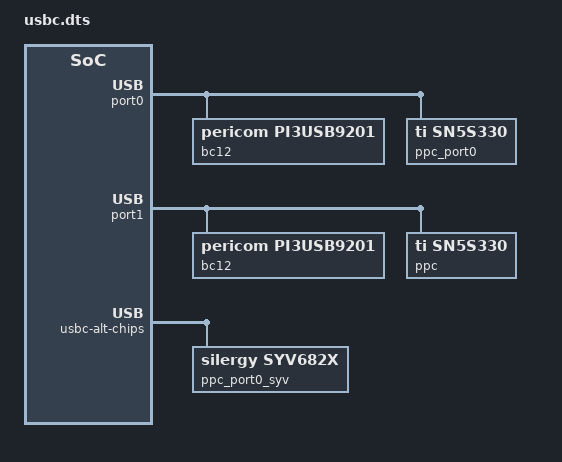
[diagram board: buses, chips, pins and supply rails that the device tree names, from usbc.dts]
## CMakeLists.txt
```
# Copyright 2021 The Chromium OS Authors. All rights reserved.
# Use of this source code is governed by a BSD-style license that can be
# found in the LICENSE file.

cmake_minimum_required(VERSION 3.13.1)

find_package(Zephyr REQUIRED HINTS $ENV{ZEPHYR_BASE})
project(herobrine_npcx9)

zephyr_library_include_directories(include)

# Board specific implementation
zephyr_library_sources_ifdef(CONFIG_PLATFORM_EC_USBC
  "src/usbc_config.c"
  "src/usb_pd_policy.c")
zephyr_library_sources_ifdef(CONFIG_PLATFORM_EC_LED_COMMON
  "src/led.c")
zephyr_library_sources_ifdef(CONFIG_PLATFORM_EC_I2C
  "src/i2c.c")
```

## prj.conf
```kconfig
# Copyright 2021 The Chromium OS Authors. All rights reserved.
# Use of this source code is governed by a BSD-style license that can be
# found in the LICENSE file.

CONFIG_CROS_EC=y
CONFIG_SHIMMED_TASKS=y
CONFIG_PLATFORM_EC=y
CONFIG_PLATFORM_EC_BRINGUP=y
CONFIG_PLATFORM_EC_EXTPOWER_GPIO=y
CONFIG_PLATFORM_EC_SWITCH=y
CONFIG_PLATFORM_EC_LID_SWITCH=y
CONFIG_PLATFORM_EC_BACKLIGHT_LID=y
CONFIG_PLATFORM_EC_POWER_BUTTON=y
CONFIG_PLATFORM_EC_CBI_GPIO=y
CONFIG_I2C=y
CONFIG_KERNEL_SHELL=y
CONFIG_PLATFORM_EC_BOARD_RESET_AFTER_POWER_ON=y

# Shell history and tab autocompletion (for convenience)
CONFIG_SHELL_HELP=y
CONFIG_SHELL_HISTORY=y
CONFIG_SHELL_TAB=y
CONFIG_SHELL_TAB_AUTOCOMPLETION=y

# Miscellaneous configs
CONFIG_PLATFORM_EC_HIBERNATE_PSL=y

# LED
CONFIG_PLATFORM_EC_LED_COMMON=y

# PWM
CONFIG_PWM=y
CONFIG_PWM_SHELL=n
CONFIG_PLATFORM_EC_PWM=y
CONFIG_PLATFORM_EC_PWM_DISPLIGHT=y
CONFIG_PLATFORM_EC_PWM_KBLIGHT=y

# Application Processor is Qualcomm SC7280
CONFIG_AP_ARM_QUALCOMM_SC7280=y

# GPIO Switchcap
CONFIG_PLATFORM_EC_SWITCHCAP_GPIO=y

# Board version is selected over GPIO board ID pins.
CONFIG_PLATFORM_EC_BOARD_VERSION_GPIO=y

# Power Sequencing
CONFIG_PLATFORM_EC_POWERSEQ=y
CONFIG_PLATFORM_EC_POWERSEQ_HOST_SLEEP=y
CONFIG_PLATFORM_EC_POWERSEQ_PP5000_CONTROL=n
CONFIG_PLATFORM_EC_POWER_SLEEP_FAILURE_DETECTION=y
CONFIG_PLATFORM_EC_CHIPSET_RESET_HOOK=y
CONFIG_PLATFORM_EC_CHIPSET_RESUME_INIT_HOOK=y

# MKBP event mask
CONFIG_PLATFORM_EC_MKBP_EVENT_WAKEUP_MASK=y
CONFIG_PLATFORM_EC_MKBP_HOST_EVENT_WAKEUP_MASK=y

# MKBP event
CONFIG_PLATFORM_EC_MKBP_EVENT=y
CONFIG_PLATFORM_EC_MKBP_USE_GPIO=y

# Keyboard
CONFIG_PLATFORM_EC_KEYBOARD=y
CONFIG_PLATFORM_EC_KEYBOARD_PROTOCOL_MKBP=y
CONFIG_PLATFORM_EC_MKBP_INPUT_DEVICES=y
CONFIG_PLATFORM_EC_KEYBOARD_COL2_INVERTED=y
CONFIG_PLATFORM_EC_KEYBOARD_REFRESH_ROW3=y
CONFIG_PLATFORM_EC_VOLUME_BUTTONS=y
CONFIG_PLATFORM_EC_CMD_BUTTON=y
CONFIG_CROS_KB_RAW_NPCX=y

# ADC
CONFIG_PLATFORM_EC_ADC=y
CONFIG_ADC=y
CONFIG_ADC_SHELL=n

# Battery
CONFIG_PLATFORM_EC_BATTERY=y
CONFIG_PLATFORM_EC_BATTERY_SMART=y
CONFIG_PLATFORM_EC_I2C_VIRTUAL_BATTERY=y
CONFIG_PLATFORM_EC_I2C_PASSTHRU_RESTRICTED=y
CONFIG_PLATFORM_EC_BATTERY_FUEL_GAUGE=y
CONFIG_PLATFORM_EC_BATTERY_CUT_OFF=y
CONFIG_PLATFORM_EC_BATTERY_PRESENT_GPIO=y
CONFIG_PLATFORM_EC_CHARGER_ISL9238=y
CONFIG_PLATFORM_EC_CHARGE_RAMP_HW=y
CONFIG_PLATFORM_EC_USE_BATTERY_DEVICE_CHEMISTRY=y
CONFIG_PLATFORM_EC_BATTERY_DEVICE_CHEMISTRY="LION"
CONFIG_PLATFORM_EC_BATTERY_REVIVE_DISCONNECT=y
CONFIG_PLATFORM_EC_CHARGER_DISCHARGE_ON_AC=y
CONFIG_PLATFORM_EC_CHARGER_DISCHARGE_ON_AC_CHARGER=y
CONFIG_PLATFORM_EC_CHARGER_MIN_BAT_PCT_FOR_POWER_ON=2
CONFIG_PLATFORM_EC_CHARGER_MIN_POWER_MW_FOR_POWER_ON=10000
CONFIG_PLATFORM_EC_CHARGER_PROFILE_OVERRIDE=y
CONFIG_PLATFORM_EC_CHARGER_PSYS=y
CONFIG_PLATFORM_EC_CHARGER_PSYS_READ=y
CONFIG_PLATFORM_EC_CHARGER_SENSE_RESISTOR=10
CONFIG_PLATFORM_EC_CHARGER_SENSE_RESISTOR_AC=20
CONFIG_PLATFORM_EC_CONSOLE_CMD_CHARGER_ADC_AMON_BMON=y

# USB-A
CONFIG_PLATFORM_EC_USB_A_PORT_COUNT=1

# USB-C
CONFIG_PLATFORM_EC_BC12_DETECT_PI3USB9201=y
CONFIG_PLATFORM_EC_USB_PD_USB32_DRD=n
CONFIG_PLATFORM_EC_USBC_PPC_SN5S330=y
CONFIG_PLATFORM_EC_USBC_PPC_SYV682C=y
CONFIG_PLATFORM_EC_USBC_PPC_SYV682X=y
CONFIG_PLATFORM_EC_USBC_RETIMER_FW_UPDATE=n
CONFIG_PLATFORM_EC_USBC_SS_MUX_DFP_ONLY=y
CONFIG_PLATFORM_EC_USB_DRP_ACC_TRYSRC=y
CONFIG_PLATFORM_EC_USB_PD_5V_EN_CUSTOM=y
CONFIG_PLATFORM_EC_USB_PD_VBUS_DETECT_TCPC=y
CONFIG_PLATFORM_EC_USB_PD_DISCHARGE_PPC=y
CONFIG_PLATFORM_EC_USB_PD_PORT_MAX_COUNT=2
CONFIG_PLATFORM_EC_USB_PD_REV30=n
CONFIG_PLATFORM_EC_USB_PD_TCPC_LOW_POWER=y
CONFIG_PLATFORM_EC_USB_PD_TCPM_PS8805=y
CONFIG_PLATFORM_EC_USB_PD_TCPC_RUNTIME_CONFIG=n
CONFIG_PLATFORM_EC_USB_MUX_RUNTIME_CONFIG=n
CONFIG_PLATFORM_EC_USB_PD_LOGGING=y
CONFIG_PLATFORM_EC_USB_PORT_POWER_DUMB=y

# USB ID
# This is allocated specifically for Herobrine
# http://google3/hardware/standards/usb/
# TODO(b/183608112): Move to device tree
CONFIG_PLATFORM_EC_USB_PID=0x5055

# RTC
CONFIG_PLATFORM_EC_RTC=y
CONFIG_CROS_RTC_NXP_PCF85063A=y
CONFIG_PLATFORM_EC_HOSTCMD_RTC=y
CONFIG_PLATFORM_EC_CONSOLE_CMD_RTC=y
CONFIG_PLATFORM_EC_CONSOLE_CMD_RTC_ALARM=y

# EC software sync
CONFIG_PLATFORM_EC_VBOOT_HASH=y

# Sensors
CONFIG_PLATFORM_EC_MOTIONSENSE=y
CONFIG_PLATFORM_EC_ACCEL_FIFO=y
CONFIG_PLATFORM_EC_ACCEL_INTERRUPTS=y
CONFIG_PLATFORM_EC_CONSOLE_CMD_ACCELS=y
CONFIG_PLATFORM_EC_CONSOLE_CMD_ACCEL_INFO=y
CONFIG_PLATFORM_EC_GMR_TABLET_MODE=y
CONFIG_PLATFORM_EC_LID_ANGLE=y
CONFIG_PLATFORM_EC_LID_ANGLE_UPDATE=y
CONFIG_PLATFORM_EC_SENSOR_TIGHT_TIMESTAMPS=y
CONFIG_PLATFORM_EC_TABLET_MODE=y
CONFIG_PLATFORM_EC_TABLET_MODE_SWITCH=y

# Sensor Drivers
CONFIG_PLATFORM_EC_ACCEL_BMA255=y
CONFIG_PLATFORM_EC_ACCELGYRO_BMI260=y
CONFIG_PLATFORM_EC_ACCELGYRO_BMI_COMM_I2C=y

CONFIG_SYSCON=y

# Features should be enabled. But the code RAM is not enough, disable them.
#CONFIG_PLATFORM_EC_ACCEL_SPOOF_MODE=y
#CONFIG_PLATFORM_EC_EMULATED_SYSRQ=y
```

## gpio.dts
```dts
/* Copyright 2021 The Chromium OS Authors. All rights reserved.
 * Use of this source code is governed by a BSD-style license that can be
 * found in the LICENSE file.
 */

/ {
	named-gpios {
		compatible = "named-gpios";

		usb_c0_pd_int_odl {
			gpios = <&gpioe 0 GPIO_INPUT>;
			enum-name = "GPIO_USB_C0_PD_INT_ODL";
		};
		usb_c1_pd_int_odl {
			gpios = <&gpiof 5 GPIO_INPUT>;
			enum-name = "GPIO_USB_C1_PD_INT_ODL";
		};
		usb_c0_swctl_int_odl {
			gpios = <&gpio0 3 GPIO_INPUT>;
			enum-name = "GPIO_USB_C0_SWCTL_INT_ODL";
		};
		usb_c1_swctl_int_odl {
			gpios = <&gpio4 0 GPIO_INPUT>;
			enum-name = "GPIO_USB_C1_SWCTL_INT_ODL";
		};
		gpio_usb_c0_bc12_int_l: usb_c0_bc12_int_l {
			gpios = <&gpio6 1 GPIO_INPUT_PULL_UP>;
			enum-name = "GPIO_USB_C0_BC12_INT_L";
		};
		gpio_usb_c1_bc12_int_l: usb_c1_bc12_int_l {
			gpios = <&gpio8 2 GPIO_INPUT_PULL_UP>;
			enum-name = "GPIO_USB_C1_BC12_INT_L";
		};
		usb_a0_oc_odl {
			gpios = <&gpiof 4 GPIO_INPUT_PULL_UP>;
			enum-name = "GPIO_USB_A0_OC_ODL";
		};
		gpio_chg_acok_od: chg_acok_od {
			gpios = <&gpiod 2 GPIO_INPUT>;
			enum-name = "GPIO_AC_PRESENT";
		};
		gpio_ec_pwr_btn_odl: ec_pwr_btn_odl {
			gpios = <&gpio0 0 GPIO_INPUT>;
			enum-name = "GPIO_POWER_BUTTON_L";
		};
		ec_voldn_btn_odl {
			gpios = <&gpio6 2 GPIO_INPUT_PULL_UP>;
			enum-name = "GPIO_VOLUME_DOWN_L";
		};
		ec_volup_btn_odl {
			gpios = <&gpioc 2 GPIO_INPUT_PULL_UP>;
			enum-name = "GPIO_VOLUME_UP_L";
		};
		ec_wp_odl {
			gpios = <&gpiod 3 GPIO_INPUT>;
			enum-name = "GPIO_WP_L";
		};
		gpio_lid_open_ec: lid_open_ec {
			gpios = <&gpio0 1 GPIO_INPUT>;
			enum-name = "GPIO_LID_OPEN";
		};
		ap_rst_l {
			gpios = <&gpio5 1 GPIO_INPUT>;
			enum-name = "GPIO_AP_RST_L";
		};
		ps_hold {
			gpios = <&gpioa 6 GPIO_INPUT_PULL_DOWN>;
			enum-name = "GPIO_PS_HOLD";
		};
		ap_suspend {
			gpios = <&gpio5 7 GPIO_INPUT>;
			enum-name = "GPIO_AP_SUSPEND";
		};
		mb_power_good {
			gpios = <&gpio3 7 GPIO_INPUT_PULL_DOWN>;
			enum-name = "GPIO_POWER_GOOD";
		};
		warm_reset_l {
			gpios = <&gpiob 0 GPIO_INPUT>;
			enum-name = "GPIO_WARM_RESET_L";
		};
		ap_ec_spi_cs_l {
			gpios = <&gpio5 3 GPIO_INPUT_PULL_DOWN>;
		};
		tablet_mode_l {
			gpios = <&gpioc 6 GPIO_INPUT>;
			enum-name = "GPIO_TABLET_MODE_L";
		};
		gpio_accel_gyro_int_l: accel_gyro_int_l {
			gpios = <&gpioa 3 GPIO_INPUT>;
			enum-name = "GPIO_ACCEL_GYRO_INT_L";
		};
		gpio_rtc_ec_wake_odl: rtc_ec_wake_odl {
			#gpio-cells = <0>;
			gpios = <&gpio0 2 GPIO_INPUT>;
			enum-name = "GPIO_EC_RST_ODL";
		};
		ec_entering_rw {
			gpios = <&gpio7 2 GPIO_OUT_LOW>;
			enum-name = "GPIO_ENTERING_RW";
		};
		ccd_mode_odl {
			gpios = <&gpio6 3 GPIO_INPUT>;
			enum-name = "GPIO_CCD_MODE_ODL";
		};
		ec_batt_pres_odl {
			gpios = <&gpioe 5 GPIO_INPUT>;
			enum-name = "GPIO_BATT_PRES_ODL";
		};
		ec_gsc_packet_mode {
			gpios = <&gpio8 3 GPIO_OUT_LOW>;
			enum-name = "GPIO_PACKET_MODE_EN";
		};
		pmic_resin_l {
			gpios = <&gpioa 0 GPIO_ODR_HIGH>;
			enum-name = "GPIO_PMIC_RESIN_L";
		};
		pmic_kpd_pwr_odl {
			gpios = <&gpioa 2 GPIO_ODR_HIGH>;
			enum-name = "GPIO_PMIC_KPD_PWR_ODL";
		};
		ap_ec_int_l {
			gpios = <&gpio5 6 GPIO_ODR_HIGH>;
			enum-name = "GPIO_EC_INT_L";
		};
		gpio_switchcap_on: switchcap_on {
			gpios = <&gpiod 5 GPIO_OUT_LOW>;
			enum-name = "GPIO_SWITCHCAP_ON";
		};
		en_pp5000_s5 {
			gpios = <&gpio7 3 GPIO_OUT_HIGH>;
			enum-name = "GPIO_EN_PP5000";
		};
		ec_bl_disable_l {
			/* The PMIC controls backlight enable and this pin must
			 * be HiZ for normal operation. But the backlight can
			 * be enabled by setting this pin low and configuring it
			 * as an output.
			 */
			gpios = <&gpiob 6 GPIO_INPUT>;
			enum-name = "GPIO_ENABLE_BACKLIGHT";
		};
		lid_accel_int_l {
			gpios = <&gpioa 1 GPIO_INPUT>;
			enum-name = "GPIO_LID_ACCEL_INT_L";
		};
		tp_int_gate {
			gpios = <&gpio7 4 GPIO_OUT_LOW>;
			enum-name = "GPIO_TRACKPAD_INT_GATE";
		};
		usb_c0_pd_rst_l {
			gpios = <&gpiof 1 GPIO_OUT_HIGH>;
			enum-name = "GPIO_USB_C0_PD_RST_L";
		};
		usb_c1_pd_rst_l {
			gpios = <&gpioe 4 GPIO_OUT_HIGH>;
			enum-name = "GPIO_USB_C1_PD_RST_L";
		};
		dp_mux_oe_l {
			gpios = <&gpiob 1 GPIO_ODR_HIGH>;
			enum-name = "GPIO_DP_MUX_OE_L";
		};
		dp_mux_sel {
			gpios = <&gpio4 5 GPIO_OUT_LOW>;
			enum-name = "GPIO_DP_MUX_SEL";
		};
		dp_hot_plug_det_r {
			gpios = <&gpio9 5 GPIO_OUT_LOW>;
			enum-name = "GPIO_DP_HOT_PLUG_DET";
		};
		en_usb_a_5v {
			gpios = <&gpiof 0 GPIO_OUT_LOW>;
			enum-name = "GPIO_EN_USB_A_5V";
		};
		usb_a_cdp_ilim_en_l {
			gpios = <&gpio7 5 GPIO_OUT_HIGH>;
		};
		usb_c0_frs_en {
			gpios = <&gpioc 5 GPIO_OUT_LOW>;
			enum-name = "GPIO_USB_C0_FRS_EN";
		};
		usb_c1_frs_en {
			gpios = <&gpioc 1 GPIO_OUT_LOW>;
			enum-name = "GPIO_USB_C1_FRS_EN";
		};
		ec_chg_led_y_c0 {
			gpios = <&gpio6 0 GPIO_OUT_LOW>;
			enum-name = "GPIO_EC_CHG_LED_Y_C0";
		};
		ec_chg_led_w_c0 {
			gpios = <&gpioc 0 GPIO_OUT_LOW>;
			enum-name = "GPIO_EC_CHG_LED_W_C0";
		};
		ec_chg_led_y_c1 {
			gpios = <&gpioc 3 GPIO_OUT_LOW>;
			enum-name = "GPIO_EC_CHG_LED_Y_C1";
		};
		ec_chg_led_w_c1 {
			gpios = <&gpioc 4 GPIO_OUT_LOW>;
			enum-name = "GPIO_EC_CHG_LED_W_C1";
		};
		ap_ec_spi_mosi {
			gpios = <&gpio4 6 GPIO_INPUT_PULL_DOWN>;
		};
		ap_ec_spi_miso {
			gpios = <&gpio4 7 GPIO_INPUT_PULL_DOWN>;
		};
		ap_ec_spi_clk {
			gpios = <&gpio5 5 GPIO_INPUT_PULL_DOWN>;
		};
		gpio_brd_id0: brd_id0 {
			gpios = <&gpio9 4 GPIO_INPUT>;
			enum-name = "GPIO_BOARD_VERSION1";
		};
		gpio_brd_id1: brd_id1 {
			gpios = <&gpio9 7 GPIO_INPUT>;
			enum-name = "GPIO_BOARD_VERSION2";
		};
		gpio_brd_id2: brd_id2 {
			gpios = <&gpioa 5 GPIO_INPUT>;
			enum-name = "GPIO_BOARD_VERSION3";
		};
		gpio_sku_id0: sku_id0 {
			gpios = <&gpio6 7 GPIO_INPUT>;
			enum-name = "GPIO_SKU_ID0";
		};
		gpio_sku_id1: sku_id1 {
			gpios = <&gpio7 0 GPIO_INPUT>;
			enum-name = "GPIO_SKU_ID1";
		};
		gpio_sku_id2: sku_id2 {
			gpios = <&gpioe 1 GPIO_INPUT>;
			enum-name = "GPIO_SKU_ID2";
		};
		gpio_switchcap_pg: src_vph_pwr_pg {
			gpios = <&gpioe 2 GPIO_INPUT_PULL_DOWN>;
			enum-name = "GPIO_SWITCHCAP_PG";
		};
		arm_x86 {
			gpios = <&gpio6 6 GPIO_OUT_LOW>;
		};
		ec_kso_02_inv {
			gpios = <&gpio1 7 GPIO_OUT_LOW>;
			enum-name = "GPIO_KBD_KSO2";
		};
	};

	def-lvol-io-list {
		compatible = "nuvoton,npcx-lvolctrl-def";
		lvol-io-pads = <
			&lvol_iob3 /* EC_I2C_SENSOR_SCL */
			&lvol_iob2 /* EC_I2C_SENSOR_SDA */
		>;
	};

	hibernate-wake-pins {
		compatible = "cros-ec,hibernate-wake-pins";
		wakeup-pins = <
			&gpio_chg_acok_od
			&gpio_ec_pwr_btn_odl
			&gpio_lid_open_ec
			&gpio_rtc_ec_wake_odl
		>;
	};

	vsby-psl-in-list {
		/* Use PSL_IN1/2/3/4 as detection pins from hibernate mode */
		psl-in-pads = <&psl_in1 &psl_in2 &psl_in3 &psl_in4>;
	};

	sku {
		compatible = "cros-ec,gpio-id";

		bits  = <
			&gpio_sku_id0
			&gpio_sku_id1
			&gpio_sku_id2
		>;

		system = "ternary";
	};

	board {
		compatible = "cros-ec,gpio-id";

		bits  = <
			&gpio_brd_id0
			&gpio_brd_id1
			&gpio_brd_id2
		>;

		system = "ternary";
	};

	unused-pins {
		compatible = "unused-gpios";
		unused-gpios =
			<&gpio5 2 0>,
			<&gpio5 4 0>,
			<&gpio7 6 0>,
			<&gpiod 1 0>,
			<&gpiod 0 0>,
			<&gpioe 3 0>,
			<&gpio0 4 0>,
			<&gpiod 6 0>,
			<&gpio3 2 0>,
			<&gpio3 5 0>,
			<&gpiod 7 0>,
			<&gpio8 6 0>,
			<&gpiod 4 0>,
			<&gpio4 1 0>,
			<&gpio3 4 0>,
			<&gpioc 7 0>,
			<&gpioa 4 0>,
			<&gpio9 6 0>,
			<&gpio9 3 0>,
			<&gpioa 7 0>,
			<&gpio5 0 0>,
			<&gpio8 1 0>,
			<&gpiob 7 0>;
	};
};

/* Power switch logic input pads */
&psl_in1 {
	/* ACOK_OD */
	flag = <NPCX_PSL_RISING_EDGE>;
};

&psl_in2 {
	/* EC_PWR_BTN_ODL */
	flag = <NPCX_PSL_FALLING_EDGE>;
};

&psl_in3 {
	/* LID_OPEN_EC */
	flag = <NPCX_PSL_RISING_EDGE>;
};

&psl_in4 {
	/* RTC_EC_WAKE_ODL */
	flag = <NPCX_PSL_FALLING_EDGE>;
};
```

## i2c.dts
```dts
/* Copyright 2021 The Chromium OS Authors. All rights reserved.
 * Use of this source code is governed by a BSD-style license that can be
 * found in the LICENSE file.
 */

/ {
	aliases {
		i2c-0 = &i2c0_0;
		i2c-1 = &i2c1_0;
		i2c-2 = &i2c2_0;
		i2c-3 = &i2c3_0;
		i2c-4 = &i2c4_1;
		i2c-5 = &i2c5_0;
		i2c-7 = &i2c7_0;
	};

	named-i2c-ports {
		compatible = "named-i2c-ports";

		i2c_power: power {
			i2c-port = <&i2c0_0>;
			enum-name = "I2C_PORT_POWER";
		};
		battery {
			i2c-port = <&i2c0_0>;
			remote-port = <0>;
			enum-name = "I2C_PORT_BATTERY";
		};
		virtual-battery {
			i2c-port = <&i2c0_0>;
			enum-name = "I2C_PORT_VIRTUAL_BATTERY";
		};
		charger {
			i2c-port = <&i2c0_0>;
			enum-name = "I2C_PORT_CHARGER";
		};
		i2c_tcpc0: tcpc0 {
			i2c-port = <&i2c1_0>;
			enum-name = "I2C_PORT_TCPC0";
		};
		i2c_tcpc1: tcpc1 {
			i2c-port = <&i2c2_0>;
			enum-name = "I2C_PORT_TCPC1";
		};
		rtc {
			i2c-port = <&i2c4_1>;
			enum-name = "I2C_PORT_RTC";
		};
		i2c_eeprom: eeprom {
			i2c-port = <&i2c5_0>;
			enum-name = "I2C_PORT_EEPROM";
		};
		i2c_sensor: sensor {
			i2c-port = <&i2c7_0>;
			enum-name = "I2C_PORT_SENSOR";
		};
		accel {
			i2c-port = <&i2c7_0>;
			enum-name = "I2C_PORT_ACCEL";
		};
	};


};

&i2c0_0 {
	label = "I2C_POWER";
	status = "okay";
	clock-frequency = <I2C_BITRATE_STANDARD>;

	isl9238: isl9238@9 {
		compatible = "intersil,isl9238";
		reg = <0x09>;
		label = "ISL9238_CHARGER";
	};
};

&i2c_ctrl0 {
	status = "okay";
};

&i2c1_0 {
	label = "I2C_USB_C0_PD";
	status = "okay";
	/*
	 * TODO(b/200280341): PS8805 SPI ROM access
	 *
	 * The PS8805 supports 1 MHz during normal operation, but only
	 * 400 Khz during firmware updates. The I2C passthru commands don't
	 * currently support changing the I2C frequency or notifying the EC
	 * that a programming operation is going to start.  Lower the clock
	 * rate to 400 kHz for all accesses.
	 */
	clock-frequency = <I2C_BITRATE_FAST>;
};

&i2c_ctrl1 {
	status = "okay";
};

&i2c2_0 {
	label = "I2C_USB_C1_PD";
	status = "okay";
	/* TODO(b/200280341): PS8805 SPI ROM access */
	clock-frequency = <I2C_BITRATE_FAST>;
};

&i2c_ctrl2 {
	status = "okay";
};

&i2c3_0 {
	/* Not used as no WLC connected */
	clock-frequency = <I2C_BITRATE_FAST>;
};

&i2c4_1 {
	label = "I2C_RTC";
	status = "okay";
	clock-frequency = <I2C_BITRATE_FAST>;

	pcf85063a: pcf85063a@51 {
		compatible = "nxp,rtc-pcf85063a";
		reg = <0x51>;
		label = "RTC_PCF85063A";
		int-gpios = <&gpio_rtc_ec_wake_odl>;
	};
};

&i2c_ctrl4 {
	status = "okay";
};

&i2c5_0 {
	label = "I2C_EEPROM";
	status = "okay";
	clock-frequency = <I2C_BITRATE_FAST>;
};

&i2c_ctrl5 {
	status = "okay";
};

&i2c7_0 {
	label = "I2C_SENSOR";
	status = "okay";
	clock-frequency = <I2C_BITRATE_FAST>;
};

&i2c_ctrl7 {
	status = "okay";
};
```

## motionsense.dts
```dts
/* Copyright 2021 The Chromium OS Authors. All rights reserved.
 * Use of this source code is governed by a BSD-style license that can be
 * found in the LICENSE file.
 */

#include <dt-bindings/motionsense/utils.h>


/ {
	aliases {
		/*
		 * motion sense's <>_INT_EVENT is handled
		 * by alias. Using the alias, each driver creates
		 * its own <>_INT_EVENT.
		 */
		bmi260-int = &base_accel;
	};

	/*
	 * Declare mutexes used by sensor drivers.
	 * A mutex node is used to create an instance of mutex_t.
	 * A mutex node is referenced by a sensor node if the
	 * corresponding sensor driver needs to use the
	 * instance of the mutex.
	 */
	motionsense-mutex {
		compatible = "cros-ec,motionsense-mutex";
		lid_mutex: lid-mutex {
			label = "LID_MUTEX";
		};

		mutex_bmi260: bmi260-mutex {
			label = "BMI260_MUTEX";
		};
	};

	/* Rotation matrix used by drivers. */
	motionsense-rotation-ref {
		compatible = "cros-ec,motionsense-rotation-ref";
		lid_rot_ref: lid-rotation-ref {
			mat33 = <0 1 0
				 (-1) 0 0
				 0 0 1>;
		};

		base_rot_ref: base-rotation-ref {
			mat33 = <1 0 0
				 0 (-1) 0
				 0 0 (-1)>;
		};
	};

	/*
	 * Driver specific data. A driver-specific data can be shared with
	 * different motion sensors while they are using the same driver.
	 *
	 * If a node's compatible starts with "cros-ec,accelgyro-", it is for
	 * a common structure defined in accelgyro.h.
	 * e.g) compatible = "cros-ec,accelgyro-als-drv-data" is for
	 * "struct als_drv_data_t" in accelgyro.h
	 */
	motionsense-sensor-data {
		bma255_data: bma255-drv-data {
			compatible = "cros-ec,drvdata-bma255";
			status = "okay";
		};

		bmi260_data: bmi260-drv-data {
			compatible = "cros-ec,drvdata-bmi260";
			status = "okay";
		};
	};

	/*
	 * List of motion sensors that creates motion_sensors array.
	 * The label "lid_accel" and "base_accel" are used to indicate
	 * motion sensor IDs for lid angle calculation.
	 */
	motionsense-sensor {
		lid_accel: lid-accel {
			compatible = "cros-ec,bma255";
			status = "okay";

			label = "Lid Accel";
			active-mask = "SENSOR_ACTIVE_S0_S3";
			location = "MOTIONSENSE_LOC_LID";
			mutex = <&lid_mutex>;
			port = <&i2c_sensor>;
			rot-standard-ref = <&lid_rot_ref>;
			default-range = <2>;
			drv-data = <&bma255_data>;
			i2c-spi-addr-flags = "BMA2x2_I2C_ADDR1_FLAGS";
			configs {
				compatible =
					"cros-ec,motionsense-sensor-config";
				ec-s0 {
					label = "SENSOR_CONFIG_EC_S0";
					odr = <(10000 | ROUND_UP_FLAG)>;
				};
				ec-s3 {
					label = "SENSOR_CONFIG_EC_S3";
					odr = <(10000 | ROUND_UP_FLAG)>;
				};
			};
		};

		base_accel: base-accel {
			compatible = "cros-ec,bmi260-accel";
			status = "okay";

			label = "Base Accel";
			active-mask = "SENSOR_ACTIVE_S0_S3";
			location = "MOTIONSENSE_LOC_BASE";
			mutex = <&mutex_bmi260>;
			port = <&i2c_sensor>;
			rot-standard-ref = <&base_rot_ref>;
			drv-data = <&bmi260_data>;
			configs {
				compatible =
					"cros-ec,motionsense-sensor-config";
				ec-s0 {
					label = "SENSOR_CONFIG_EC_S0";
					odr = <(10000 | ROUND_UP_FLAG)>;
				};
				ec-s3 {
					label = "SENSOR_CONFIG_EC_S3";
					odr = <(10000 | ROUND_UP_FLAG)>;
				};
			};
		};

		base-gyro {
			compatible = "cros-ec,bmi260-gyro";
			status = "okay";

			label = "Base Gyro";
			active-mask = "SENSOR_ACTIVE_S0_S3";
			location = "MOTIONSENSE_LOC_BASE";
			mutex = <&mutex_bmi260>;
			port = <&i2c_sensor>;
			rot-standard-ref = <&base_rot_ref>;
			drv-data = <&bmi260_data>;
		};
	};

	motionsense-sensor-info {
		compatible = "cros-ec,motionsense-sensor-info";

		/*
		 * list of GPIO interrupts that have to
		 * be enabled at initial stage
		 */
		sensor-irqs = <&gpio_accel_gyro_int_l>;
		/* list of sensors in force mode */
		accel-force-mode-sensors = <&lid_accel>;
	};
};
```

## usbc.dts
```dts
/* Copyright 2021 The Chromium OS Authors. All rights reserved.
 * Use of this source code is governed by a BSD-style license that can be
 * found in the LICENSE file.
 */

/ {
	usbc {
		compatible = "named-usbc-ports";
		#address-cells = <1>;
		#size-cells = <0>;
		port0: usbc-port@0 {
			reg = <0>;
			bc12 {
				compatible = "pericom,pi3usb9201";
				status = "okay";
				irq = <&gpio_usb_c0_bc12_int_l>;
				port = <&i2c_power>;
				i2c-addr-flags = "PI3USB9201_I2C_ADDR_3_FLAGS";
			};
			ppc_port0: ppc {
				compatible = "ti,sn5s330";
				status = "okay";
				port = <&i2c_tcpc0>;
				i2c-addr-flags = "SN5S330_ADDR0_FLAGS";
			};
		};

		port1: usbc-port@1 {
			reg = <1>;
			bc12 {
				compatible = "pericom,pi3usb9201";
				status = "okay";
				irq = <&gpio_usb_c1_bc12_int_l>;
				port = <&i2c_eeprom>;
				i2c-addr-flags = "PI3USB9201_I2C_ADDR_3_FLAGS";
			};
			ppc {
				compatible = "ti,sn5s330";
				status = "okay";
				port = <&i2c_tcpc1>;
				i2c-addr-flags = "SN5S330_ADDR0_FLAGS";
			};
		};
	};
	usbc-alt-chips {
		ppc_port0_syv: ppc-port0 {
			compatible = "silergy,syv682x";
			status = "okay";
			port = <&i2c_tcpc0>;
			i2c-addr-flags = "SYV682X_ADDR0_FLAGS";
			alternate-for = <&ppc_port0>;
		};
	};
};
```

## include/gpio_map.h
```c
/* Copyright 2021 The Chromium OS Authors. All rights reserved.
 * Use of this source code is governed by a BSD-style license that can be
 * found in the LICENSE file.
 */

#ifndef __ZEPHYR_GPIO_MAP_H
#define __ZEPHYR_GPIO_MAP_H

#include <devicetree.h>
#include <gpio_signal.h>

#ifdef CONFIG_PLATFORM_EC_GMR_TABLET_MODE
#define GMR_TABLET_MODE_GPIO_L GPIO_TABLET_MODE_L
#endif

/*
 * Set EC_CROS_GPIO_INTERRUPTS to a space-separated list of GPIO_INT items.
 *
 * Each GPIO_INT requires three parameters:
 *   gpio_signal - The enum gpio_signal for the interrupt gpio
 *   interrupt_flags - The interrupt-related flags (e.g. GPIO_INT_EDGE_BOTH)
 *   handler - The platform/ec interrupt handler.
 *
 * Ensure that this files includes all necessary headers to declare all
 * referenced handler functions.
 *
 * For example, one could use the follow definition:
 * #define EC_CROS_GPIO_INTERRUPTS \
 *   GPIO_INT(NAMED_GPIO(h1_ec_pwr_btn_odl), GPIO_INT_EDGE_BOTH, button_print)
 */
#define EC_CROS_GPIO_INTERRUPTS                                               \
	GPIO_INT(GPIO_AC_PRESENT, GPIO_INT_EDGE_BOTH, extpower_interrupt)     \
	GPIO_INT(GPIO_LID_OPEN, GPIO_INT_EDGE_BOTH, lid_interrupt)            \
	GPIO_INT(GPIO_WP_L, GPIO_INT_EDGE_BOTH, switch_interrupt)             \
	GPIO_INT(GPIO_POWER_BUTTON_L, GPIO_INT_EDGE_BOTH,                     \
		 power_button_interrupt)                                      \
	GPIO_INT(GPIO_VOLUME_DOWN_L, GPIO_INT_EDGE_BOTH, button_interrupt)    \
	GPIO_INT(GPIO_VOLUME_UP_L, GPIO_INT_EDGE_BOTH, button_interrupt)      \
	GPIO_INT(GPIO_AP_RST_L, GPIO_INT_EDGE_BOTH, chipset_ap_rst_interrupt) \
	GPIO_INT(GPIO_AP_SUSPEND, GPIO_INT_EDGE_BOTH, power_signal_interrupt) \
	GPIO_INT(GPIO_POWER_GOOD, GPIO_INT_EDGE_BOTH, power_signal_interrupt) \
	GPIO_INT(GPIO_PS_HOLD, GPIO_INT_EDGE_BOTH, power_signal_interrupt)    \
	GPIO_INT(GPIO_WARM_RESET_L, GPIO_INT_EDGE_BOTH,                       \
		 power_signal_interrupt)                                      \
	GPIO_INT(GPIO_USB_C0_PD_INT_ODL, GPIO_INT_EDGE_FALLING,               \
		 tcpc_alert_event)                                            \
	GPIO_INT(GPIO_USB_C1_PD_INT_ODL, GPIO_INT_EDGE_FALLING,               \
		 tcpc_alert_event)                                            \
	GPIO_INT(GPIO_USB_C0_SWCTL_INT_ODL, GPIO_INT_EDGE_FALLING,            \
		 ppc_interrupt)                                               \
	GPIO_INT(GPIO_USB_C1_SWCTL_INT_ODL, GPIO_INT_EDGE_FALLING,            \
		 ppc_interrupt)                                               \
	GPIO_INT(GPIO_USB_C0_BC12_INT_L, GPIO_INT_EDGE_FALLING, usb0_evt)     \
	GPIO_INT(GPIO_USB_C1_BC12_INT_L, GPIO_INT_EDGE_FALLING, usb1_evt)     \
	GPIO_INT(GPIO_USB_A0_OC_ODL, GPIO_INT_EDGE_BOTH, usba_oc_interrupt)   \
	GPIO_INT(GPIO_ACCEL_GYRO_INT_L, GPIO_INT_EDGE_FALLING,                \
		 bmi260_interrupt)                                            \
	GPIO_INT(GPIO_TABLET_MODE_L, GPIO_INT_EDGE_BOTH, gmr_tablet_switch_isr)

#endif /* __ZEPHYR_GPIO_MAP_H */
```

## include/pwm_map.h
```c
/* Copyright 2021 The Chromium OS Authors. All rights reserved.
 * Use of this source code is governed by a BSD-style license that can be
 * found in the LICENSE file.
 */

#ifndef __ZEPHYR_PWM_MAP_H
#define __ZEPHYR_PWM_MAP_H

#include <devicetree.h>

#include "pwm/pwm.h"

#endif /* __ZEPHYR_PWM_MAP_H */
```

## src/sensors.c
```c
/* Copyright 2021 The Chromium OS Authors. All rights reserved.
 * Use of this source code is governed by a BSD-style license that can be
 * found in the LICENSE file.
 */

#include "chipset.h"
#include "common.h"
#include "keyboard_scan.h"

/* Herobrine-NPCX9 board specific sensor implementation */

#ifdef CONFIG_LID_ANGLE_UPDATE
void lid_angle_peripheral_enable(int enable)
{
	int chipset_in_s0 = chipset_in_state(CHIPSET_STATE_ON);

	if (enable) {
		keyboard_scan_enable(1, KB_SCAN_DISABLE_LID_ANGLE);
	} else {
		/*
		 * Ensure that the chipset is off before disabling the keyboard.
		 * When the chipset is on, the EC keeps the keyboard enabled and
		 * the AP decides whether to ignore input devices or not.
		 */
		if (!chipset_in_s0)
			keyboard_scan_enable(0, KB_SCAN_DISABLE_LID_ANGLE);
	}
}
#endif
```

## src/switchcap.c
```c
/* Copyright 2021 The Chromium OS Authors. All rights reserved.
 * Use of this source code is governed by a BSD-style license that can be
 * found in the LICENSE file.
 */

#include "gpio.h"
#include "power/qcom.h"

void board_set_switchcap_power(int enable)
{
	gpio_set_level(GPIO_SWITCHCAP_ON, enable);
}

int board_is_switchcap_enabled(void)
{
	return gpio_get_level(GPIO_SWITCHCAP_ON);
}

int board_is_switchcap_power_good(void)
{
	return gpio_get_level(GPIO_SWITCHCAP_PG);
}
```

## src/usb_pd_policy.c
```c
/* Copyright 2021 The Chromium OS Authors. All rights reserved.
 * Use of this source code is governed by a BSD-style license that can be
 * found in the LICENSE file.
 */

#include "charge_manager.h"
#include "chipset.h"
#include "console.h"
#include "gpio.h"
#include "system.h"
#include "usb_mux.h"
#include "usbc_ppc.h"
#include "util.h"

#define CPRINTS(format, args...) cprints(CC_USBCHARGE, format, ## args)
#define CPRINTF(format, args...) cprintf(CC_USBCHARGE, format, ## args)

int pd_check_vconn_swap(int port)
{
	/* In G3, do not allow vconn swap since PP5000 rail is off */
	return gpio_get_level(GPIO_EN_PP5000);
}

static uint8_t vbus_en[CONFIG_USB_PD_PORT_MAX_COUNT];
#if CONFIG_USB_PD_PORT_MAX_COUNT == 1
static uint8_t vbus_rp[CONFIG_USB_PD_PORT_MAX_COUNT] = {TYPEC_RP_1A5};
#else
static uint8_t vbus_rp[CONFIG_USB_PD_PORT_MAX_COUNT] = {TYPEC_RP_1A5,
							TYPEC_RP_1A5};
#endif

static void board_vbus_update_source_current(int port)
{
	/* Both port are controlled by PPC SN5S330. */
	ppc_set_vbus_source_current_limit(port, vbus_rp[port]);
	ppc_vbus_source_enable(port, vbus_en[port]);
}

void pd_power_supply_reset(int port)
{
	int prev_en;

	prev_en = vbus_en[port];

	/* Disable VBUS */
	vbus_en[port] = 0;
	board_vbus_update_source_current(port);

	/* Enable discharge if we were previously sourcing 5V */
	if (prev_en)
		pd_set_vbus_discharge(port, 1);

	/* notify host of power info change */
	pd_send_host_event(PD_EVENT_POWER_CHANGE);
}

int pd_set_power_supply_ready(int port)
{
	/* Disable charging */
	board_vbus_sink_enable(port, 0);

	pd_set_vbus_discharge(port, 0);

	/* Provide VBUS */
	vbus_en[port] = 1;
	board_vbus_update_source_current(port);

	/* notify host of power info change */
	pd_send_host_event(PD_EVENT_POWER_CHANGE);

	return EC_SUCCESS; /* we are ready */
}

int board_vbus_source_enabled(int port)
{
	return vbus_en[port];
}

__override void typec_set_source_current_limit(int port, enum tcpc_rp_value rp)
{
	vbus_rp[port] = rp;
	board_vbus_update_source_current(port);
}

int pd_snk_is_vbus_provided(int port)
{
	return tcpm_check_vbus_level(port, VBUS_PRESENT);
}

/* ----------------- Vendor Defined Messages ------------------ */
#ifdef CONFIG_USB_PD_ALT_MODE_DFP
__override int svdm_dp_config(int port, uint32_t *payload)
{
	int opos = pd_alt_mode(port, TCPC_TX_SOP, USB_SID_DISPLAYPORT);
	uint8_t pin_mode = get_dp_pin_mode(port);

	if (!pin_mode)
		return 0;

	/*
	 * Defer setting the usb_mux until HPD goes high, svdm_dp_attention().
	 * The AP only supports one DP phy. An external DP mux switches between
	 * the two ports. Should switch those muxes when it is really used,
	 * i.e. HPD high; otherwise, the real use case is preempted, like:
	 *  (1) plug a dongle without monitor connected to port-0,
	 *  (2) plug a dongle without monitor connected to port-1,
	 *  (3) plug a monitor to the port-1 dongle.
	 */

	payload[0] = VDO(USB_SID_DISPLAYPORT, 1,
			 CMD_DP_CONFIG | VDO_OPOS(opos));
	payload[1] = VDO_DP_CFG(pin_mode,      /* pin mode */
				1,             /* DPv1.3 signaling */
				2);            /* UFP connected */
	return 2;
};

__override void svdm_dp_post_config(int port)
{
	dp_flags[port] |= DP_FLAGS_DP_ON;
}

/**
 * Is the port fine to be muxed its DisplayPort lines?
 *
 * Only one port can be muxed to DisplayPort at a time.
 *
 * @param port	Port number of TCPC.
 * @return	1 is fine; 0 is bad as other port is already muxed;
 */
static int is_dp_muxable(int port)
{
	int i;

	for (i = 0; i < CONFIG_USB_PD_PORT_MAX_COUNT; i++)
		if (i != port) {
			if (usb_mux_get(i) & USB_PD_MUX_DP_ENABLED)
				return 0;
		}

	return 1;
}

__override int svdm_dp_attention(int port, uint32_t *payload)
{
	enum gpio_signal hpd = GPIO_DP_HOT_PLUG_DET;
	int lvl = PD_VDO_DPSTS_HPD_LVL(payload[1]);
	int irq = PD_VDO_DPSTS_HPD_IRQ(payload[1]);
	int cur_lvl = gpio_get_level(hpd);

	dp_status[port] = payload[1];

	if (!is_dp_muxable(port)) {
		/* TODO(waihong): Info user? */
		CPRINTS("p%d: The other port is already muxed.", port);
		return 0;
	}

	/*
	 * Initial implementation to handle HPD. Only the first-plugged port
	 * works, i.e. sending HPD signal to AP. The second-plugged port
	 * will be ignored.
	 *
	 * TODO(waihong): Continue the above case, if the first-plugged port
	 * is then unplugged, switch to the second-plugged port and signal AP?
	 */
	if (lvl) {
		/*
		 * Enable and switch the DP port selection mux to the
		 * correct port.
		 *
		 * TODO(waihong): Better to move switching DP mux to
		 * the usb_mux abstraction.
		 */
		gpio_set_level(GPIO_DP_MUX_SEL, port == 1);
		gpio_set_level(GPIO_DP_MUX_OE_L, 0);

		/* Connect the SBU lines in PPC chip. */
		if (IS_ENABLED(CONFIG_USBC_PPC_SBU))
			ppc_set_sbu(port, 1);

		/*
		 * Connect the USB SS/DP lines in TCPC chip.
		 *
		 * When mf_pref not true, still use the dock muxing
		 * because of the board USB-C topology (limited to 2
		 * lanes DP).
		 */
		usb_mux_set(port, USB_PD_MUX_DOCK,
			    USB_SWITCH_CONNECT,
			    polarity_rm_dts(pd_get_polarity(port)));
	} else {
		/* Disconnect the DP port selection mux. */
		gpio_set_level(GPIO_DP_MUX_OE_L, 1);
		gpio_set_level(GPIO_DP_MUX_SEL, 0);

		/* Disconnect the SBU lines in PPC chip. */
		if (IS_ENABLED(CONFIG_USBC_PPC_SBU))
			ppc_set_sbu(port, 0);

		/* Disconnect the DP but keep the USB SS lines in TCPC chip. */
		usb_mux_set(port, USB_PD_MUX_USB_ENABLED,
			    USB_SWITCH_CONNECT,
			    polarity_rm_dts(pd_get_polarity(port)));
	}

	if (chipset_in_state(CHIPSET_STATE_ANY_SUSPEND) &&
	    (irq || lvl))
		/*
		 * Wake up the AP.  IRQ or level high indicates a DP sink is now
		 * present.
		 */
		pd_notify_dp_alt_mode_entry(port);

	/* Configure TCPC for the HPD event, for proper muxing */
	usb_mux_hpd_update(port, lvl, irq);

	/* Signal AP for the HPD event, through GPIO to AP */
	if (irq & cur_lvl) {
		uint64_t now = get_time().val;
		/* Wait for the minimum spacing between IRQ_HPD if needed */
		if (now < svdm_hpd_deadline[port])
			usleep(svdm_hpd_deadline[port] - now);

		/* Generate IRQ_HPD pulse */
		gpio_set_level(hpd, 0);
		usleep(HPD_DSTREAM_DEBOUNCE_IRQ);
		gpio_set_level(hpd, 1);

		/* Set the minimum time delay (2ms) for the next HPD IRQ */
		svdm_hpd_deadline[port] = get_time().val +
			HPD_USTREAM_DEBOUNCE_LVL;
	} else if (irq & !lvl) {
		CPRINTF("ERR:HPD:IRQ&LOW\n");
		return 0;
	} else {
		gpio_set_level(hpd, lvl);
		/* Set the minimum time delay (2ms) for the next HPD IRQ */
		svdm_hpd_deadline[port] = get_time().val +
			HPD_USTREAM_DEBOUNCE_LVL;
	}

	return 1;
}

__override void svdm_exit_dp_mode(int port)
{
	if (is_dp_muxable(port)) {
		/* Disconnect the DP port selection mux. */
		gpio_set_level(GPIO_DP_MUX_OE_L, 1);
		gpio_set_level(GPIO_DP_MUX_SEL, 0);

		/* Signal AP for the HPD low event */
		usb_mux_hpd_update(port, 0, 0);
		gpio_set_level(GPIO_DP_HOT_PLUG_DET, 0);
	}
}
#endif /* CONFIG_USB_PD_ALT_MODE_DFP */
```

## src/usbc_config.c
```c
/* Copyright 2021 The Chromium OS Authors. All rights reserved.
 * Use of this source code is governed by a BSD-style license that can be
 * found in the LICENSE file.
 */

/* Herobrine board-specific USB-C configuration */

#include "charger.h"
#include "charger/isl923x_public.h"
#include "charge_manager.h"
#include "charge_state.h"
#include "common.h"
#include "config.h"
#include "cros_board_info.h"
#include "gpio.h"
#include "hooks.h"
#include "ppc/sn5s330_public.h"
#include "ppc/syv682x_public.h"
#include "system.h"
#include "tcpm/ps8xxx_public.h"
#include "tcpm/tcpci.h"
#include "timer.h"
#include "usb_pd.h"
#include "usb_mux.h"
#include "usbc_ocp.h"
#include "usbc_ppc.h"
#include "usbc/ppc.h"

#define CPRINTS(format, args...) cprints(CC_USBCHARGE, format, ## args)
#define CPRINTF(format, args...) cprintf(CC_USBCHARGE, format, ## args)


/* GPIO Interrupt Handlers */
void tcpc_alert_event(enum gpio_signal signal)
{
	int port = -1;

	switch (signal) {
	case GPIO_USB_C0_PD_INT_ODL:
		port = 0;
		break;
	case GPIO_USB_C1_PD_INT_ODL:
		port = 1;
		break;
	default:
		return;
	}

	schedule_deferred_pd_interrupt(port);
}

static void usba_oc_deferred(void)
{
	/* Use next number after all USB-C ports to indicate the USB-A port */
	board_overcurrent_event(CONFIG_USB_PD_PORT_MAX_COUNT,
				!gpio_get_level(GPIO_USB_A0_OC_ODL));
}
DECLARE_DEFERRED(usba_oc_deferred);

void usba_oc_interrupt(enum gpio_signal signal)
{
	hook_call_deferred(&usba_oc_deferred_data, 0);
}

void ppc_interrupt(enum gpio_signal signal)
{
	switch (signal) {
	case GPIO_USB_C0_SWCTL_INT_ODL:
		ppc_chips[0].drv->interrupt(0);
		break;

	case GPIO_USB_C1_SWCTL_INT_ODL:
		ppc_chips[1].drv->interrupt(1);
		break;

	default:
		break;
	}
}

const struct charger_config_t chg_chips[] = {
	{
		.i2c_port = I2C_PORT_CHARGER,
		.i2c_addr_flags = ISL923X_ADDR_FLAGS,
		.drv = &isl923x_drv,
	},
};

int charger_profile_override(struct charge_state_data *curr)
{
	int usb_mv;
	int port;

	if (curr->state != ST_CHARGE)
		return 0;

	/* Lower the max requested voltage to 5V when battery is full. */
	if (chipset_in_state(CHIPSET_STATE_ANY_OFF) &&
	    !(curr->batt.flags & BATT_FLAG_BAD_STATUS) &&
	    !(curr->batt.flags & BATT_FLAG_WANT_CHARGE) &&
	    (curr->batt.status & STATUS_FULLY_CHARGED))
		usb_mv = 5000;
	else
		usb_mv = PD_MAX_VOLTAGE_MV;

	if (pd_get_max_voltage() != usb_mv) {
		CPRINTS("VBUS limited to %dmV", usb_mv);
		for (port = 0; port < CONFIG_USB_PD_PORT_MAX_COUNT; port++)
			pd_set_external_voltage_limit(port, usb_mv);
	}

	return 0;
}

enum ec_status charger_profile_override_get_param(uint32_t param,
						  uint32_t *value)
{
	return EC_RES_INVALID_PARAM;
}

enum ec_status charger_profile_override_set_param(uint32_t param,
						  uint32_t value)
{
	return EC_RES_INVALID_PARAM;
}

/* TCPC mux configuration */
const struct tcpc_config_t tcpc_config[CONFIG_USB_PD_PORT_MAX_COUNT] = {
	{
		.bus_type = EC_BUS_TYPE_I2C,
		.i2c_info = {
			.port = I2C_PORT_TCPC0,
			.addr_flags = PS8751_I2C_ADDR1_FLAGS,
		},
		.drv = &ps8xxx_tcpm_drv,
	},
	{
		.bus_type = EC_BUS_TYPE_I2C,
		.i2c_info = {
			.port = I2C_PORT_TCPC1,
			.addr_flags = PS8751_I2C_ADDR1_FLAGS,
		},
		.drv = &ps8xxx_tcpm_drv,
	},
};

/*
 * Port-0/1 USB mux driver.
 *
 * The USB mux is handled by TCPC chip and the HPD update is through a GPIO
 * to AP. But the TCPC chip is also needed to know the HPD status; otherwise,
 * the mux misbehaves.
 */
const struct usb_mux usb_muxes[CONFIG_USB_PD_PORT_MAX_COUNT] = {
	{
		.usb_port = 0,
		.driver = &tcpci_tcpm_usb_mux_driver,
		.hpd_update = &ps8xxx_tcpc_update_hpd_status,
	},
	{
		.usb_port = 1,
		.driver = &tcpci_tcpm_usb_mux_driver,
		.hpd_update = &ps8xxx_tcpc_update_hpd_status,
	}
};

const int usb_port_enable[USB_PORT_COUNT] = {
	GPIO_EN_USB_A_5V,
};

/* Initialize board USC-C things */
static void board_init_usbc(void)
{
	/* Enable USB-A overcurrent interrupt */
	gpio_enable_interrupt(GPIO_USB_A0_OC_ODL);
}
DECLARE_HOOK(HOOK_INIT, board_init_usbc, HOOK_PRIO_DEFAULT);

void board_tcpc_init(void)
{
	/* Only reset TCPC if not sysjump */
	if (!system_jumped_late()) {
		/* TODO(crosbug.com/p/61098): How long do we need to wait? */
		board_reset_pd_mcu();
	}

	/* Enable PPC interrupts */
	gpio_enable_interrupt(GPIO_USB_C0_SWCTL_INT_ODL);

	/* Enable TCPC interrupts */
	gpio_enable_interrupt(GPIO_USB_C0_PD_INT_ODL);
	gpio_enable_interrupt(GPIO_USB_C1_PD_INT_ODL);

	/*
	 * Initialize HPD to low; after sysjump SOC needs to see
	 * HPD pulse to enable video path
	 */
	for (int port = 0; port < CONFIG_USB_PD_PORT_MAX_COUNT; ++port)
		usb_mux_hpd_update(port, USB_PD_MUX_HPD_LVL_DEASSERTED |
					 USB_PD_MUX_HPD_IRQ_DEASSERTED);
}
DECLARE_HOOK(HOOK_INIT, board_tcpc_init, HOOK_PRIO_INIT_I2C + 1);

void board_reset_pd_mcu(void)
{
	cprints(CC_USB, "Resetting TCPCs...");
	cflush();

	gpio_set_level(GPIO_USB_C0_PD_RST_L, 0);
	gpio_set_level(GPIO_USB_C1_PD_RST_L, 0);
	msleep(PS8XXX_RESET_DELAY_MS);
	gpio_set_level(GPIO_USB_C0_PD_RST_L, 1);
	gpio_set_level(GPIO_USB_C1_PD_RST_L, 1);
	msleep(PS8805_FW_INIT_DELAY_MS);
}

void board_set_tcpc_power_mode(int port, int mode)
{
	/* Ignore the "mode" to turn the chip on.  We can only do a reset. */
	if (mode)
		return;

	board_reset_pd_mcu();
}

int board_vbus_sink_enable(int port, int enable)
{
	/* Both ports are controlled by PPC SN5S330 */
	return ppc_vbus_sink_enable(port, enable);
}

int board_is_sourcing_vbus(int port)
{
	/* Both ports are controlled by PPC SN5S330 */
	return ppc_is_sourcing_vbus(port);
}

void board_overcurrent_event(int port, int is_overcurrented)
{
	/* TODO(b/120231371): Notify AP */
	CPRINTS("p%d: overcurrent!", port);
}

int board_set_active_charge_port(int port)
{
	int is_real_port = (port >= 0 &&
			    port < CONFIG_USB_PD_PORT_MAX_COUNT);
	int i;

	if (!is_real_port && port != CHARGE_PORT_NONE)
		return EC_ERROR_INVAL;

	if (port == CHARGE_PORT_NONE) {
		CPRINTS("Disabling all charging port");

		/* Disable all ports. */
		for (i = 0; i < CONFIG_USB_PD_PORT_MAX_COUNT; i++) {
			/*
			 * Do not return early if one fails otherwise we can
			 * get into a boot loop assertion failure.
			 */
			if (board_vbus_sink_enable(i, 0))
				CPRINTS("Disabling p%d sink path failed.", i);
		}

		return EC_SUCCESS;
	}

	/* Check if the port is sourcing VBUS. */
	if (board_is_sourcing_vbus(port)) {
		CPRINTS("Skip enable p%d", port);
		return EC_ERROR_INVAL;
	}


	CPRINTS("New charge port: p%d", port);

	/*
	 * Turn off the other ports' sink path FETs, before enabling the
	 * requested charge port.
	 */
	for (i = 0; i < CONFIG_USB_PD_PORT_MAX_COUNT; i++) {
		if (i == port)
			continue;

		if (board_vbus_sink_enable(i, 0))
			CPRINTS("p%d: sink path disable failed.", i);
	}

	/* Enable requested charge port. */
	if (board_vbus_sink_enable(port, 1)) {
		CPRINTS("p%d: sink path enable failed.", port);
		return EC_ERROR_UNKNOWN;
	}

	return EC_SUCCESS;
}

void board_set_charge_limit(int port, int supplier, int charge_ma,
			    int max_ma, int charge_mv)
{
	/*
	 * Ignore lower charge ceiling on PD transition if our battery is
	 * critical, as we may brownout.
	 */
	if (supplier == CHARGE_SUPPLIER_PD &&
	    charge_ma < 1500 &&
	    charge_get_percent() < CONFIG_CHARGER_MIN_BAT_PCT_FOR_POWER_ON) {
		CPRINTS("Using max ilim %d", max_ma);
		charge_ma = max_ma;
	}

	charge_set_input_current_limit(MAX(charge_ma,
					   CONFIG_CHARGER_INPUT_CURRENT),
				       charge_mv);
}

uint16_t tcpc_get_alert_status(void)
{
	uint16_t status = 0;

	if (!gpio_get_level(GPIO_USB_C0_PD_INT_ODL))
		if (gpio_get_level(GPIO_USB_C0_PD_RST_L))
			status |= PD_STATUS_TCPC_ALERT_0;
	if (!gpio_get_level(GPIO_USB_C1_PD_INT_ODL))
		if (gpio_get_level(GPIO_USB_C1_PD_RST_L))
			status |= PD_STATUS_TCPC_ALERT_1;

	return status;
}
```
